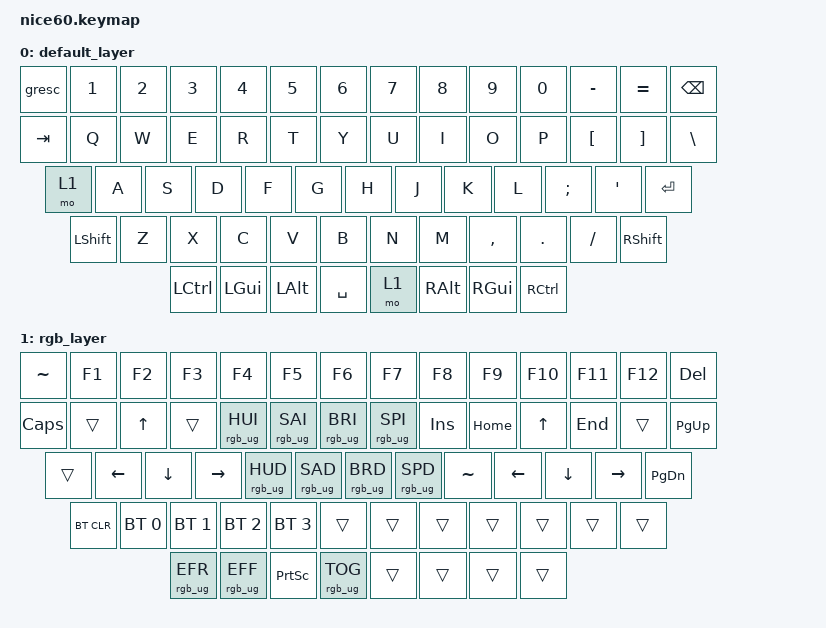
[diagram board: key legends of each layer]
/*
 * Copyright (c) 2021 Nick Winans
 *
 * SPDX-License-Identifier: MIT
 */

#include <behaviors.dtsi>
#include <dt-bindings/zmk/keys.h>
#include <dt-bindings/zmk/rgb.h>
#include <dt-bindings/zmk/bt.h>
#include <dt-bindings/zmk/outputs.h>
#include <dt-bindings/zmk/reset.h>
#include <dt-bindings/zmk/ext_power.h>

/ {
	keymap {
		compatible = "zmk,keymap";
		
		default_layer {
// ------------------------------------------------------------------------------------------
// | ESC |  1  |  2  |  3  |  4  |  5  |  6  |  7  |  8  |  9  |  0  |  -  |  =  |   BKSP   |
// | TAB  |  Q  |  W  |  E  |  R  |  T  |  Y  |  U  |  I  |  O  |  P  |  [  |  ]  |   "|"   |
// | MO(1) |  A  |  S  |  D  |  F  |  G  |  H  |  J  |  K  |  L  |  ;  |  '  |     ENTER    |
// |  SHIFT  |  Z  |  X  |  C  |  V  |  B  |  N  |  M  |  ,  |  .  |  /  |      SHIFT       |
// |  CTL  |  WIN  |  ALT  |            SPACE              |  MO(1)|  ALT  |  WIN   |  CTL  |
// ------------------------------------------------------------------------------------------
			bindings = <
	&gresc  &kp N1 &kp N2 &kp N3 &kp N4 &kp N5 &kp N6 &kp N7 &kp N8 &kp N9 &kp N0 &kp MINUS &kp EQUAL  &kp BSPC
	&kp TAB  &kp Q  &kp W  &kp E  &kp R  &kp T  &kp Y  &kp U  &kp I  &kp O  &kp P  &kp LBKT  &kp RBKT  &kp BSLH
	&mo 1  &kp A  &kp S  &kp D  &kp F  &kp G  &kp H  &kp J  &kp K  &kp L  &kp SEMI &kp SQT           &kp RET
	&kp LSHFT   &kp Z  &kp X  &kp C  &kp V  &kp B  &kp N  &kp M  &kp COMMA &kp DOT &kp FSLH           &kp RSHFT
	&kp LCTRL &kp LGUI &kp LALT             &kp SPACE                     &mo 1     &kp RALT  &kp RGUI &kp RCTRL
			>;
		};

		rgb_layer {
// ------------------------------------------------------------------------------------------------
// |    ~   | F1  | F2  | F3  | F4  | F5  | F6  | F7  | F8  | F9  | F10  | F11 | F12 |    DEL     |
// |  CAPS   |   |  UP |   | HUEUP | SATUP | BRIUP | SPDUP | INS | HOME | UP | END |   |  PG UP   |
// |          | LT |  DN  | RT | HUEDN | SATDN | BRIDN | SPDDN | ~ | LT  | DN | RT |    PG DOWN   |
// |  BT CLR     | BT 1 | BT 2 | BT 3 | BT 4 |     |     |     |     |     |     |                |
// | RGB FWD | RGBB | PRT SCR |      TOG RGB                    |         |       |       |       |
// ------------------------------------------------------------------------------------------------
			bindings = <
	&kp TILDE   &kp F1    &kp F2    &kp F3  &kp F4           &kp F5          &kp F6          &kp F7          &kp F8   &kp F9   &kp F10  &kp F11 &kp F12    &kp DEL
	&kp CAPS     &trans    &kp UP    &trans  &rgb_ug RGB_HUI  &rgb_ug RGB_SAI &rgb_ug RGB_BRI &rgb_ug RGB_SPI  &kp INS  &kp HOME &kp UP   &kp END &trans    &kp PG_UP
	&trans         &kp LEFT  &kp DOWN  &kp RIGHT &rgb_ug RGB_HUD &rgb_ug RGB_SAD &rgb_ug RGB_BRD &rgb_ug RGB_SPD &kp TILDE &kp LEFT &kp DOWN &kp RIGHT     &kp PG_DN
	&bt BT_CLR  &bt BT_SEL 0  &bt BT_SEL 1 &bt BT_SEL 2 &bt BT_SEL 3 &trans          &trans          &trans          &trans   &trans   &trans               &trans
	&rgb_ug RGB_EFR        &rgb_ug RGB_EFF   &kp PSCRN                 &rgb_ug RGB_TOG                         &trans      &trans      &trans               &trans
			>;
		};
	};
};
